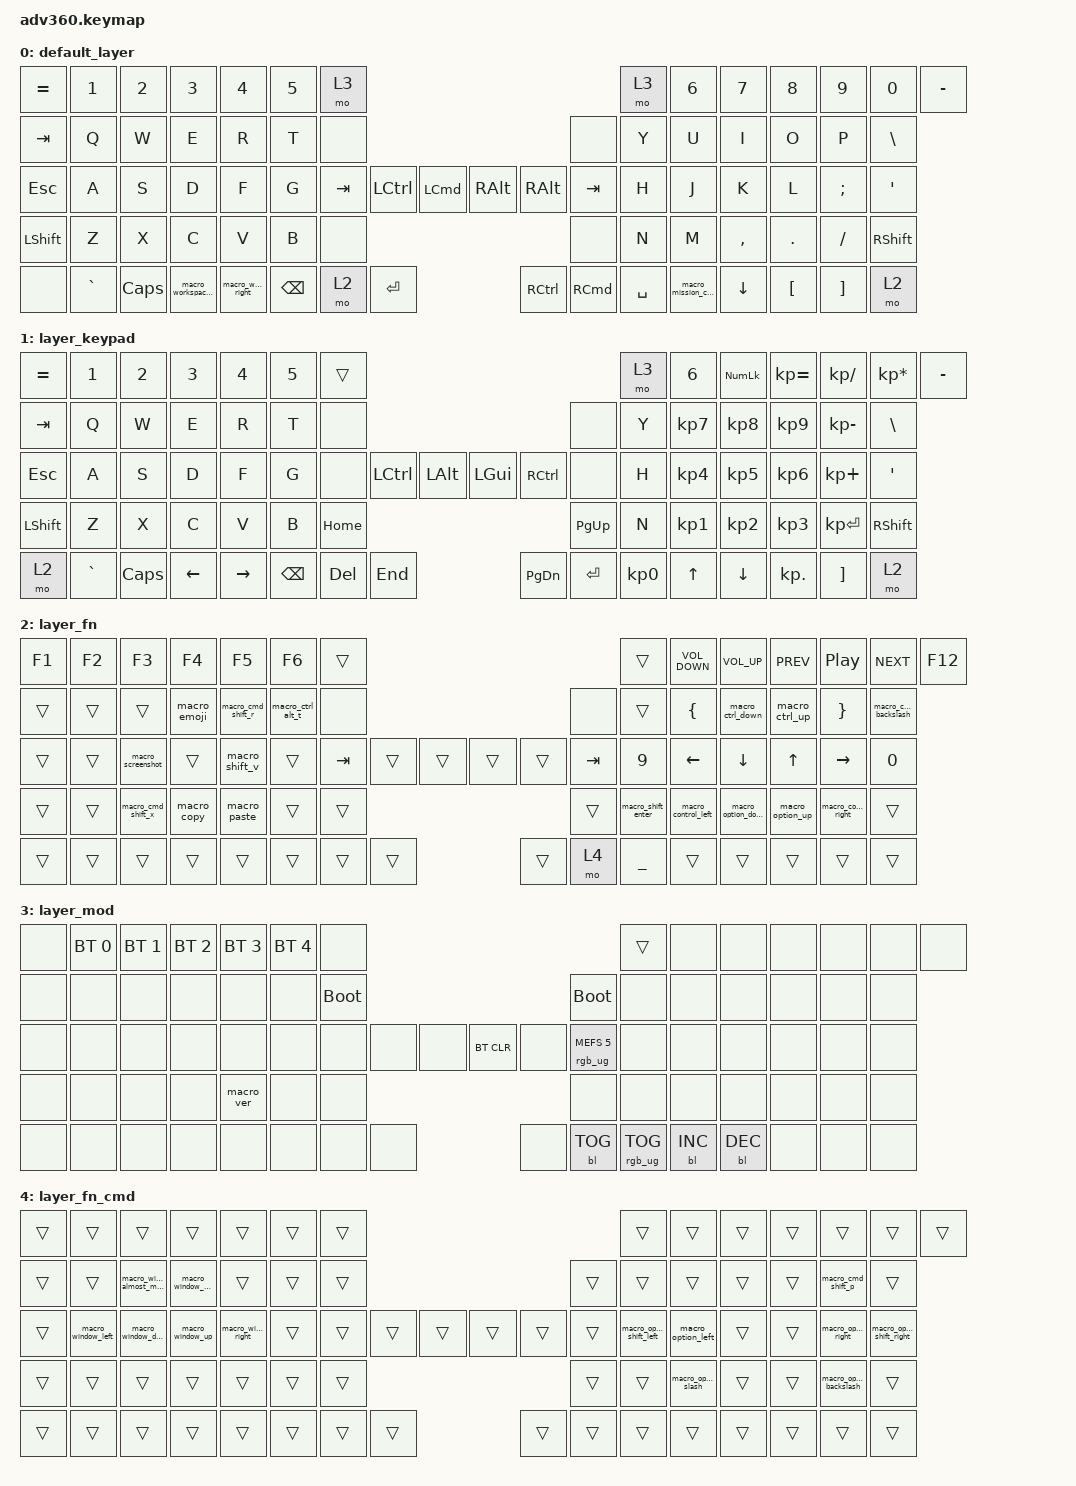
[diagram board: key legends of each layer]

/*
 * Copyright (c) 2020 The ZMK Contributors
 *
 * SPDX-License-Identifier: MIT
 */


/* THIS FILE WAS GENERATED!
 *
 * This file was generated automatically. You may or may not want to
 * edit it directly.
 */

#include <behaviors.dtsi>
#include <dt-bindings/zmk/keys.h>
#include <dt-bindings/zmk/bt.h>
#include <dt-bindings/zmk/rgb.h>
#include <dt-bindings/zmk/backlight.h>

/ {
  behaviors {
    #include "macros.dtsi"
    #include "version.dtsi"

    hm: homerow_mods {
        compatible = "zmk,behavior-hold-tap";
        label = "HOMEROW_MODS";
        #binding-cells = <2>;
        tapping-term-ms = <200>;
        quick_tap_ms = <175>;
        flavor = "tap-preferred";
        bindings = <&kp>, <&kp>;
    };
  };

    keymap {
        compatible = "zmk,keymap";


        default_layer {
            bindings = <
 &kp EQUAL     &kp N1    &kp N2                 &kp N3                  &kp N4  &kp N5                    &mo 3                                                                               &mo 3  &kp N6               &kp N7     &kp N8    &kp N9    &kp N0  &kp MINUS
   &kp TAB      &kp Q     &kp W                  &kp E                   &kp R   &kp T                    &none                                                                               &none   &kp Y                &kp U      &kp I     &kp O     &kp P   &kp BSLH
   &kp ESC      &kp A     &kp S                  &kp D                   &kp F   &kp G                  &kp TAB  &kp LCTRL    &kp LCMD                      &kp RIGHT_ALT  &kp RIGHT_ALT    &kp TAB   &kp H                &kp J      &kp K     &kp L  &kp SEMI    &kp SQT
 &kp LSHFT      &kp Z     &kp X                  &kp C                   &kp V   &kp B                                           &none                              &none                             &kp N                &kp M  &kp COMMA   &kp DOT  &kp FSLH  &kp RSHFT
     &none  &kp GRAVE  &kp CAPS  &macro_workspace_left  &macro_workspace_right                    &kp BACKSPACE      &mo 2  &kp RETURN                  &kp RIGHT_CONTROL       &kp RCMD  &kp SPACE          &macro_mission_ctrl   &kp DOWN  &kp LBKT  &kp RBKT      &mo 2
            >;
        };

        layer_keypad {
            bindings = <
 &kp EQUAL     &kp N1    &kp N2    &kp N3     &kp N4  &kp N5              &trans                                                                 &mo 3  &kp N6  &kp KP_NUM  &kp KP_EQUAL  &kp KP_DIVIDE  &kp KP_MULTIPLY  &kp MINUS
   &kp TAB      &kp Q     &kp W     &kp E      &kp R   &kp T               &none                                                                 &none   &kp Y   &kp KP_N7     &kp KP_N8      &kp KP_N9     &kp KP_MINUS   &kp BSLH
   &kp ESC      &kp A     &kp S     &kp D      &kp F   &kp G               &none  &kp LCTRL  &kp LALT                   &kp LGUI  &kp RCTRL      &none   &kp H   &kp KP_N4     &kp KP_N5      &kp KP_N6      &kp KP_PLUS    &kp SQT
 &kp LSHFT      &kp Z     &kp X     &kp C      &kp V   &kp B                                 &kp HOME                  &kp PG_UP                         &kp N   &kp KP_N1     &kp KP_N2      &kp KP_N3     &kp KP_ENTER  &kp RSHFT
     &mo 2  &kp GRAVE  &kp CAPS  &kp LEFT  &kp RIGHT                    &kp BSPC    &kp DEL   &kp END                  &kp PG_DN  &kp ENTER  &kp KP_N0              &kp UP      &kp DOWN     &kp KP_DOT         &kp RBKT      &mo 2
            >;
        };

        layer_fn {
            bindings = <
 &kp F1  &kp F2              &kp F3        &kp F4              &kp F5             &kp F6             &trans                                                          &trans   &kp C_VOLUME_DOWN      &kp C_VOLUME_UP          &kp C_PREV  &kp C_PLAY_PAUSE            &kp C_NEXT                     &kp F12
 &trans  &trans              &trans  &macro_emoji  &macro_cmd_shift_r  &macro_ctrl_alt_t              &none                                                           &none              &trans       &kp LEFT_BRACE    &macro_ctrl_down    &macro_ctrl_up       &kp RIGHT_BRACE  &macro_cmd_shift_backslash
 &trans  &trans   &macro_screenshot        &trans      &macro_shift_v             &trans            &kp TAB  &trans  &trans                  &trans  &trans         &kp TAB        &kp NUMBER_9             &kp LEFT            &kp DOWN            &kp UP             &kp RIGHT                &kp NUMBER_0
 &trans  &trans  &macro_cmd_shift_x   &macro_copy        &macro_paste             &trans                             &trans                  &trans                          &macro_shift_enter  &macro_control_left  &macro_option_down  &macro_option_up  &macro_control_right                      &trans
 &trans  &trans              &trans        &trans              &trans                                &trans  &trans  &trans                  &trans   &mo 4  &kp UNDERSCORE                                   &trans              &trans            &trans                &trans                      &trans
            >;
        };

        layer_mod {
            bindings = <
  &none  &bt BT_SEL 0  &bt BT_SEL 1  &bt BT_SEL 2  &bt BT_SEL 3  &bt BT_SEL 4                  &none                                                                          &trans   &none       &none       &none   &none   &none   &none
  &none         &none         &none         &none         &none         &none            &bootloader                                                                     &bootloader   &none       &none       &none   &none   &none   &none
  &none         &none         &none         &none         &none         &none                  &none   &none   &none                  &bt BT_CLR       &none  &rgb_ug RGB_MEFS_CMD 5   &none       &none       &none   &none   &none   &none
  &none         &none         &none         &none    &macro_ver         &none                                  &none                       &none                                       &none       &none       &none   &none   &none   &none
  &none         &none         &none         &none         &none                                &none   &none   &none                       &none  &bl BL_TOG         &rgb_ug RGB_TOG          &bl BL_INC  &bl BL_DEC   &none   &none   &none
            >;
        };

        layer_fn_cmd {
            bindings = <
 &trans              &trans                    &trans             &trans               &trans  &trans            &trans                                                  &trans                    &trans               &trans  &trans  &trans                   &trans                     &trans
 &trans              &trans  &macro_window_almost_max  &macro_window_max               &trans  &trans            &trans                                                  &trans                    &trans               &trans  &trans  &trans       &macro_cmd_shift_p                     &trans
 &trans  &macro_window_left        &macro_window_down   &macro_window_up  &macro_window_right  &trans            &trans  &trans  &trans                  &trans  &trans  &trans  &macro_option_shift_left   &macro_option_left  &trans  &trans      &macro_option_right  &macro_option_shift_right
 &trans              &trans                    &trans             &trans               &trans  &trans                            &trans                  &trans                                    &trans  &macro_option_slash  &trans  &trans  &macro_option_backslash                     &trans
 &trans              &trans                    &trans             &trans               &trans                    &trans  &trans  &trans                  &trans  &trans  &trans                                         &trans  &trans  &trans                   &trans                     &trans
            >;
        };

    };
};
